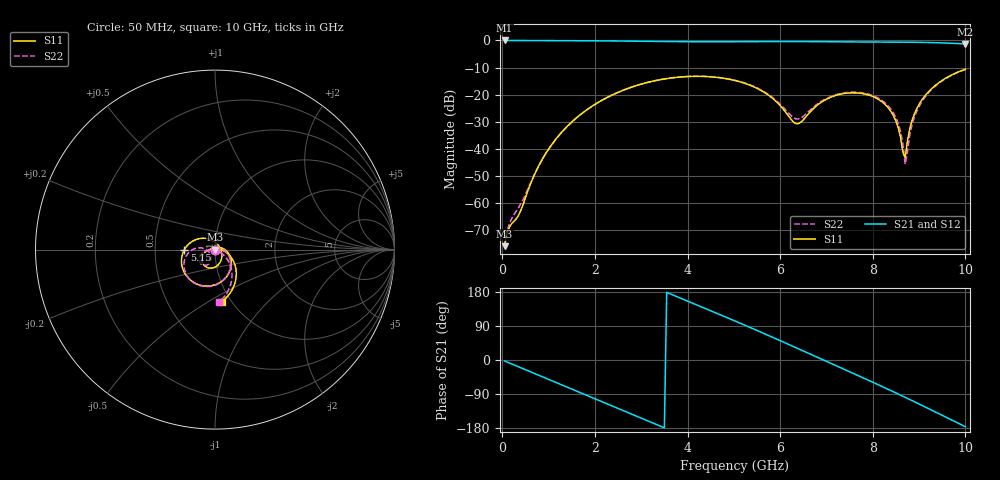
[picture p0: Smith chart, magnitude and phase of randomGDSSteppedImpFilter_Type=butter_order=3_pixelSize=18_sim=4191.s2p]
! freq	dB(S11)	phase(S11)	dB(S12)	phase(S12)
!  dB(S21)	phase(S21)	dB(S22)	phase(S22)
!S-par simulation data
#  GHz  S  DB  R 50
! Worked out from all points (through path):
!   200 points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, 50 MHz to 10 GHz, reference 50 ohm
!   highest |S21| = -0.01 dB at 50 MHz (marker M1); lowest = -1.3 dB at 10 GHz (marker M2)
!   group delay of S21, straight-line fit = 148 ps
!   lowest |S11| = -75.8 dB at 50 MHz (marker M3), VSWR 1.00, Z = 50 + j0.0116 ohm
!   |S11| at or under -10 dB: start of sweep to end of sweep
!   |S22| runs from -75.6 to -10.7 dB; largest |S21 - S12| = 0
!   S11 on the Smith chart (normalised r, x): 50 MHz: 1.00, +0.00; 5.15 GHz: 0.71, -0.00; 10 GHz: 0.90, -0.58
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0.05  -75.83 45.7  -0.01 -2.6  -0.01 -2.6  -75.63 43.3
0.2  -67.56 36.8  -0.02 -10.2  -0.02 -10.2  -65.79 26.2
0.35  -64.49 48.5  -0.03 -17.9  -0.03 -17.9  -61.64 22.7
0.9  -42.70 55.0  -0.05 -45.9  -0.05 -45.9  -42.82 36.7
1.75  -26.50 6.0  -0.11 -89.2  -0.11 -89.2  -26.54 -1.4
2.5  -19.12 -35.4  -0.20 -127.7  -0.20 -127.7  -19.12 -38.6
3.4  -14.50 -83.7  -0.38 -173.8  -0.38 -173.8  -14.48 -82.8
4.15  -13.23 -123.7  -0.49 148.0  -0.49 148.0  -13.19 -118.6
5.05  -14.88 -173.6  -0.48 101.7  -0.48 101.7  -14.79 -159.7
5.15  -15.34 -179.5  -0.47 96.5  -0.47 96.5  -15.25 -164.0
5.75  -20.20 139.9  -0.41 64.6  -0.41 64.6  -19.95 174.8
6.35  -30.71 38.8  -0.40 32.1  -0.40 32.1  -28.96 -151.9
6.7  -25.41 -44.4  -0.44 12.9  -0.44 12.9  -24.85 -112.3
7.55  -19.29 -113.0  -0.55 -33.7  -0.55 -33.7  -19.05 -133.5
8  -20.67 -141.8  -0.59 -58.6  -0.59 -58.6  -20.30 -154.0
8.35  -25.17 -165.8  -0.60 -78.3  -0.60 -78.3  -24.47 -169.8
8.6  -35.72 163.3  -0.62 -92.6  -0.62 -92.6  -33.61 -174.3
8.7  -43.24 61.0  -0.63 -98.4  -0.63 -98.4  -45.62 -124.9
8.85  -29.37 -0.3  -0.65 -107.2  -0.65 -107.2  -30.88 -30.3
9.05  -22.20 -18.6  -0.70 -119.1  -0.70 -119.1  -22.80 -35.5
9.45  -15.28 -46.5  -0.87 -143.0  -0.87 -143.0  -15.50 -55.6
10  -10.64 -82.8  -1.28 -176.1  -1.28 -176.1  -10.66 -85.5
